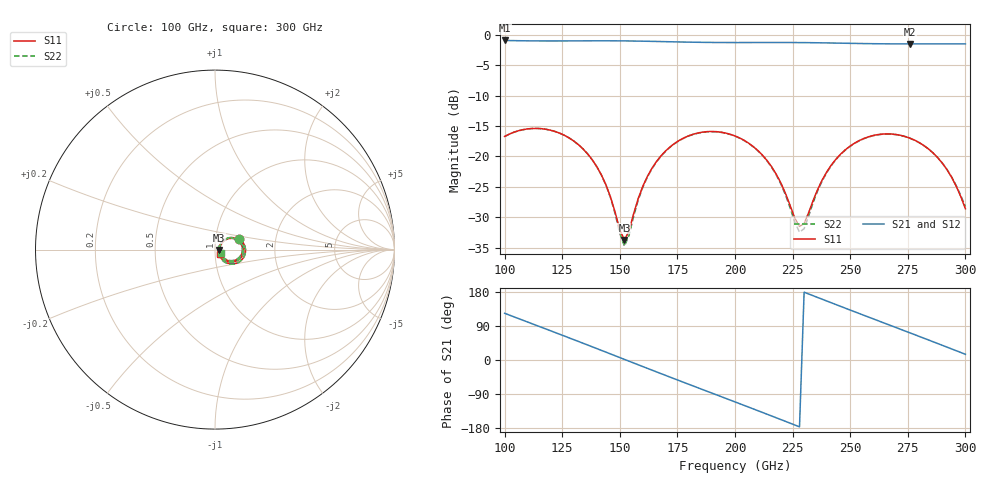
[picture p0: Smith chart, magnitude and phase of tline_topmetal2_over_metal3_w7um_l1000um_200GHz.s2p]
#  GHZ S DB R 50
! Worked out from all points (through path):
!   101 points, 100 GHz to 300 GHz, reference 50 ohm
!   highest |S21| = -0.89 dB at 100 GHz (marker M1); lowest = -1.5 dB at 276 GHz (marker M2)
!   group delay of S21, straight-line fit = 6.51 ps
!   lowest |S11| = -33.8 dB at 152 GHz (marker M3), VSWR 1.04, Z = 52.1 - j0.164 ohm
!   |S11| at or under -10 dB: start of sweep to end of sweep
!   |S22| runs from -34.8 to -15.4 dB; largest |S21 - S12| = 1.5e-13
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100  -16.70 24.2  -0.89 123.3  -0.89 123.3  -16.71 24.1
108  -15.58 8.1  -0.94 104.8  -0.94 104.8  -15.59 7.8
116  -15.42 -8.2  -0.97 86.3  -0.97 86.3  -15.42 -8.6
124  -16.17 -24.2  -0.97 67.7  -0.97 67.7  -16.18 -24.9
134  -18.74 -43.2  -0.95 44.3  -0.95 44.3  -18.75 -44.3
144  -24.68 -54.9  -0.95 20.7  -0.95 20.7  -24.74 -57.2
152  -33.77 -4.4  -0.97 1.7  -0.97 1.7  -34.77 -5.8
160  -24.90 48.0  -1.01 -17.3  -1.01 -17.3  -25.06 49.7
168  -19.84 40.0  -1.07 -36.2  -1.07 -36.2  -19.90 40.8
184  -16.12 10.5  -1.19 -73.5  -1.19 -73.5  -16.15 10.6
200  -16.62 -20.5  -1.24 -110.6  -1.24 -110.6  -16.65 -20.9
216  -21.75 -45.6  -1.23 -148.0  -1.23 -148.0  -21.84 -47.1
228  -31.52 -7.5  -1.24 -176.4  -1.24 -176.4  -32.47 -8.2
230  -31.04 15.3  -1.25 178.9  -1.25 178.9  -31.89 17.6
234  -27.16 39.6  -1.26 169.4  -1.26 169.4  -27.50 42.8
240  -22.43 43.2  -1.30 155.3  -1.30 155.3  -22.54 45.3
248  -18.86 33.1  -1.35 136.5  -1.35 136.5  -18.91 34.6
258  -16.75 15.3  -1.41 113.2  -1.41 113.2  -16.78 16.4
268  -16.30 -3.8  -1.45 90.0  -1.45 90.0  -16.32 -2.9
276  -16.99 -19.0  -1.46 71.5  -1.46 71.5  -17.01 -18.0
290  -21.11 -41.7  -1.45 38.7  -1.45 38.7  -21.09 -40.2
300  -28.59 -36.2  -1.46 15.1  -1.46 15.1  -28.27 -33.3
